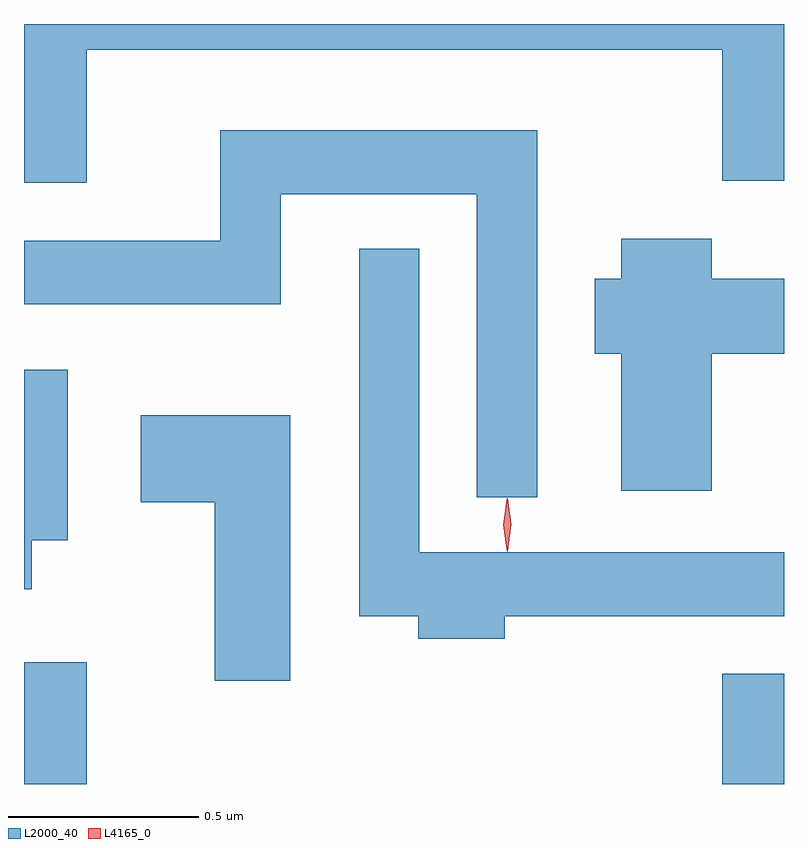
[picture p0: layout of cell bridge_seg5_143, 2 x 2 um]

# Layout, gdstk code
import gdstk
lib = gdstk.Library(unit=1e-6, precision=1e-09)
def R(c, l, rs):  # rectangles x0, y0, x1, y1
    for r in rs: c.add(gdstk.rectangle(r[:2], r[2:], *l))
def P(c, l, *ps):  # polygons
    for p in ps: c.add(gdstk.Polygon(p, *l))
L2000_40 = (2000, 40)
L4165_0 = (4165, 0)

bridge_seg5_143 = lib.new_cell('bridge_seg5_143')
R(bridge_seg5_143, L2000_40, [(1202.324,1419.344,1202.489,1419.664), (1204.161,1419.344,1204.324,1419.634)])
P(bridge_seg5_143, L2000_40, [(1202.489,1421.276),(1204.161,1421.276),(1204.161,1420.931),(1204.324,1420.931),(1204.324,1421.344),(1202.324,1421.344),(1202.324,1420.926),(1202.489,1420.926)],
  [(1203.674,1421.064),(1202.841,1421.064),(1202.841,1420.774),(1202.324,1420.774),(1202.324,1420.606),(1202.999,1420.606),(1202.999,1420.896),(1203.516,1420.896),(1203.516,1420.098),(1203.674,1420.098)],
  [(1204.134,1420.476),(1204.324,1420.476),(1204.324,1420.674),(1204.134,1420.674),(1204.134,1420.779),(1203.896,1420.779),(1203.896,1420.674),(1203.826,1420.674),(1203.826,1420.476),(1203.896,1420.476),(1203.896,1420.116),(1204.134,1420.116)],
  [(1203.589,1419.786),(1204.324,1419.786),(1204.324,1419.954),(1203.364,1419.954),(1203.364,1420.753),(1203.206,1420.753),(1203.206,1419.786),(1203.361,1419.786),(1203.361,1419.726),(1203.589,1419.726)],
  [(1202.344,1419.986),(1202.439,1419.986),(1202.439,1420.434),(1202.324,1420.434),(1202.324,1419.856),(1202.344,1419.856)],
  [(1203.024,1420.314),(1202.631,1420.314),(1202.631,1420.086),(1202.826,1420.086),(1202.826,1419.616),(1203.024,1419.616)])
P(bridge_seg5_143, L4165_0, [(1203.595,1419.959),(1203.595,1419.96),(1203.585,1420.026),(1203.594,1420.092),(1203.595,1420.093),(1203.596,1420.092),(1203.605,1420.026),(1203.596,1419.96)],
  [(1203.596,1419.957),(1203.596,1419.957),(1203.586,1420.027),(1203.596,1420.096),(1203.596,1420.096),(1203.597,1420.096),(1203.606,1420.027),(1203.597,1419.957)])

lib.write_gds('bridge_seg5_143.gds')
